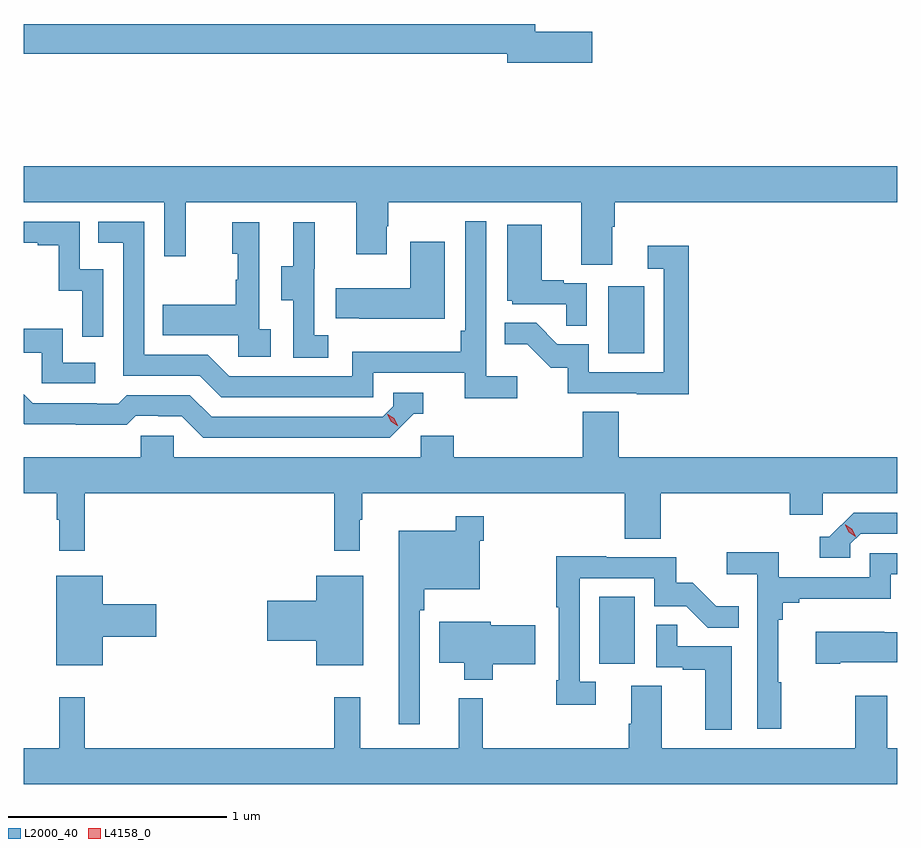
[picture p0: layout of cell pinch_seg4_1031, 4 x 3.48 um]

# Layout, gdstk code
import gdstk
lib = gdstk.Library(unit=1e-6, precision=1e-09)
def R(c, l, rs):  # rectangles x0, y0, x1, y1
    for r in rs: c.add(gdstk.rectangle(r[:2], r[2:], *l))
def P(c, l, *ps):  # polygons
    for p in ps: c.add(gdstk.Polygon(p, *l))
L2000_40 = (2000, 40)
L4158_0 = (4158, 0)

pinch_seg4_1031 = lib.new_cell('pinch_seg4_1031')
R(pinch_seg4_1031, L2000_40, [(818.222,761.406,818.386,761.713), (818.264,762.828,818.428,763.135)])
P(pinch_seg4_1031, L2000_40, [(818.191,764.3),(817.93,764.3),(817.93,764.336),(815.587,764.336),(815.587,764.2),(817.802,764.2),(817.802,764.158),(818.191,764.158)],
  [(818.281,763.408),(818.294,763.408),(818.294,763.52),(819.587,763.52),(819.587,763.684),(815.587,763.684),(815.587,763.52),(816.231,763.52),(816.231,763.272),(816.329,763.272),(816.329,763.52),(817.109,763.52),(817.109,763.281),(817.249,763.281),(817.249,763.409),(817.257,763.409),(817.257,763.52),(818.141,763.52),(818.141,763.234),(818.281,763.234)],
  [(817.846,762.724),(817.704,762.724),(817.704,763.432),(817.608,763.432),(817.608,762.931),(817.588,762.931),(817.588,762.835),(817.092,762.835),(817.092,762.723),(816.528,762.723),(816.429,762.822),(816.138,762.822),(816.138,763.431),(815.929,763.431),(815.929,763.335),(816.042,763.335),(816.042,762.726),(816.392,762.726),(816.491,762.627),(817.188,762.627),(817.188,762.738),(817.607,762.738),(817.607,762.622),(817.846,762.622)],
  [(815.952,763.212),(815.844,763.212),(815.844,763.431),(815.587,763.431),(815.587,763.335),(815.651,763.335),(815.651,763.323),(815.747,763.323),(815.747,763.115),(815.856,763.115),(815.856,762.903),(815.952,762.903)],
  [(816.982,762.911),(816.918,762.911),(816.918,763.215),(816.92,763.215),(816.92,763.429),(816.821,763.429),(816.821,763.227),(816.767,763.227),(816.767,763.072),(816.822,763.072),(816.822,762.808),(816.982,762.808)],
  [(816.718,762.938),(816.666,762.938),(816.666,763.429),(816.542,763.429),(816.542,763.284),(816.568,763.284),(816.568,763.166),(816.558,763.166),(816.558,763.051),(816.223,763.051),(816.223,762.911),(816.57,762.911),(816.57,762.813),(816.718,762.813)],
  [(818.166,763.149),(818.06,763.149),(818.06,763.162),(817.96,763.162),(817.96,763.417),(817.802,763.417),(817.802,763.068),(817.824,763.068),(817.824,763.053),(818.071,763.053),(818.071,762.955),(818.166,762.955)],
  [(817.516,763.339),(817.358,763.339),(817.358,763.126),(817.015,763.126),(817.015,762.989),(817.123,762.989),(817.123,762.986),(817.516,762.986)],
  [(818.633,763.321),(818.445,763.321),(818.445,763.215),(818.517,763.215),(818.517,762.741),(818.175,762.741),(818.175,762.87),(818.031,762.87),(817.933,762.968),(817.789,762.968),(817.789,762.869),(817.893,762.869),(818,762.762),(818.077,762.762),(818.077,762.645),(818.395,762.645),(818.395,762.64),(818.633,762.64)],
  [(815.914,762.786),(815.766,762.786),(815.766,762.94),(815.587,762.94),(815.587,762.831),(815.67,762.831),(815.67,762.69),(815.914,762.69)],
  [(817.374,762.552),(817.417,762.552),(817.417,762.648),(817.278,762.648),(817.278,762.585),(817.23,762.537),(816.447,762.537),(816.348,762.636),(816.059,762.636),(816.02,762.597),(815.921,762.597),(815.921,762.6),(815.628,762.6),(815.587,762.641),(815.587,762.506),(815.59,762.503),(815.826,762.503),(815.826,762.501),(816.059,762.501),(816.101,762.543),(816.204,762.543),(816.204,762.54),(816.311,762.54),(816.41,762.441),(817.263,762.441)],
  [(815.867,762.188),(817.009,762.188),(817.009,761.925),(817.126,761.925),(817.126,762.065),(817.138,762.065),(817.138,762.188),(818.339,762.188),(818.339,761.98),(818.504,761.98),(818.504,762.188),(819.095,762.188),(819.095,762.09),(819.246,762.09),(819.246,762.188),(819.587,762.188),(819.587,762.352),(818.312,762.352),(818.312,762.56),(818.147,762.56),(818.147,762.352),(817.556,762.352),(817.556,762.45),(817.404,762.45),(817.404,762.352),(816.273,762.352),(816.273,762.45),(816.123,762.45),(816.123,762.352),(815.587,762.352),(815.587,762.188),(815.739,762.188),(815.739,762.065),(815.75,762.065),(815.75,761.925),(815.867,761.925)],
  [(819.372,761.955),(819.42,762.003),(819.587,762.003),(819.587,762.099),(819.387,762.099),(819.276,761.988),(819.233,761.988),(819.233,761.892),(819.372,761.892)],
  [(817.401,761.651),(817.421,761.651),(817.421,761.747),(817.674,761.747),(817.674,761.969),(817.694,761.969),(817.694,762.082),(817.566,762.082),(817.566,762.016),(817.304,762.016),(817.304,761.13),(817.401,761.13)],
  [(819.055,761.321),(819.043,761.321),(819.043,761.609),(819.062,761.609),(819.062,761.686),(819.139,761.686),(819.139,761.705),(819.558,761.705),(819.558,761.817),(819.587,761.817),(819.587,761.913),(819.462,761.913),(819.462,761.802),(819.044,761.802),(819.044,761.918),(818.805,761.918),(818.805,761.816),(818.946,761.816),(818.946,761.109),(819.055,761.109)],
  [(818.206,761.325),(818.133,761.325),(818.133,761.799),(818.475,761.799),(818.475,761.67),(818.62,761.67),(818.718,761.572),(818.861,761.572),(818.861,761.671),(818.757,761.671),(818.65,761.778),(818.574,761.778),(818.574,761.895),(818.255,761.895),(818.255,761.9),(818.025,761.9),(818.025,761.665),(818.037,761.665),(818.037,761.332),(818.025,761.332),(818.025,761.22),(818.206,761.22)],
  [(817.141,761.809),(816.926,761.809),(816.926,761.696),(816.702,761.696),(816.702,761.513),(816.926,761.513),(816.926,761.399),(817.141,761.399)],
  [(815.95,761.531),(816.193,761.531),(816.193,761.678),(815.95,761.678),(815.95,761.809),(815.735,761.809),(815.735,761.399),(815.95,761.399)],
  [(817.734,761.404),(817.93,761.404),(817.93,761.582),(817.726,761.582),(817.726,761.599),(817.49,761.599),(817.49,761.411),(817.604,761.411),(817.604,761.333),(817.734,761.333)],
  [(818.83,761.487),(818.579,761.487),(818.579,761.585),(818.484,761.585),(818.484,761.391),(818.605,761.391),(818.605,761.379),(818.708,761.379),(818.708,761.105),(818.83,761.105)],
  [(819.325,761.414),(819.587,761.414),(819.587,761.551),(819.527,761.551),(819.527,761.554),(819.213,761.554),(819.213,761.407),(819.325,761.407)],
  [(819.587,761.02),(819.541,761.02),(819.541,761.26),(819.394,761.26),(819.394,761.02),(818.509,761.02),(818.509,761.306),(818.369,761.306),(818.369,761.132),(818.357,761.132),(818.357,761.02),(817.69,761.02),(817.69,761.248),(817.58,761.248),(817.58,761.02),(817.127,761.02),(817.127,761.254),(817.009,761.254),(817.009,761.02),(815.867,761.02),(815.867,761.254),(815.75,761.254),(815.75,761.02),(815.587,761.02),(815.587,760.856),(819.587,760.856)])
P(pinch_seg4_1031, L4158_0, [(817.298,762.496),(817.268,762.517),(817.252,762.55),(817.252,762.55),(817.253,762.55),(817.283,762.53),(817.299,762.497),(817.299,762.496)],
  [(819.396,761.989),(819.365,762.009),(819.349,762.042),(819.349,762.042),(819.35,762.042),(819.38,762.022),(819.396,761.989),(819.396,761.989)])

lib.write_gds('pinch_seg4_1031.gds')
